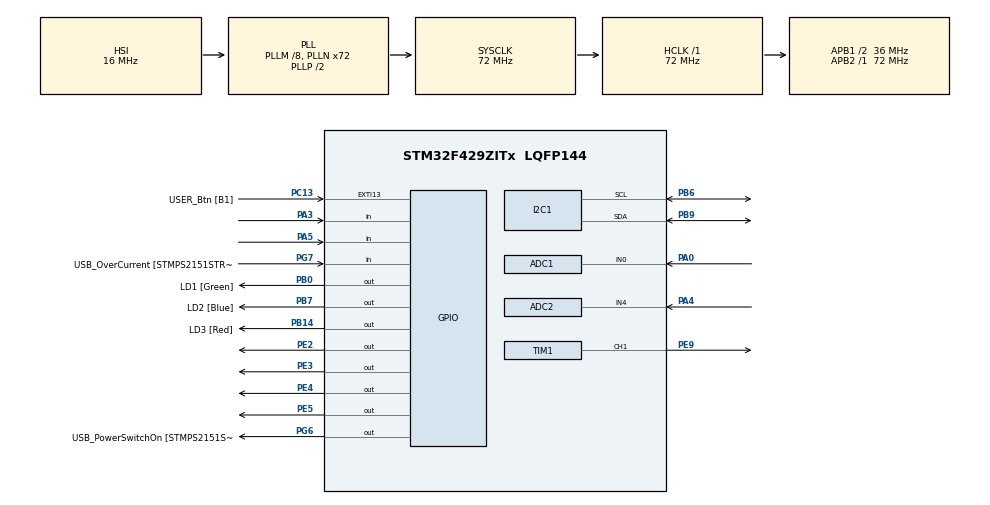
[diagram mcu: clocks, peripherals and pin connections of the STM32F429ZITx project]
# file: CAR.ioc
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ADC1.Channel-1\#ChannelRegularConversion=ADC_CHANNEL_0
ADC1.ClockPrescaler=ADC_CLOCK_SYNC_PCLK_DIV8
ADC1.ContinuousConvMode=ENABLE
ADC1.DMAContinuousRequests=ENABLE
ADC1.NbrOfConversion=1
ADC1.NbrOfConversionFlag=1
ADC1.Rank-1\#ChannelRegularConversion=1
ADC1.SamplingTime-1\#ChannelRegularConversion=ADC_SAMPLETIME_480CYCLES
ADC1.ScanConvMode=ENABLE
ADC1.master=1
ADC2.Channel-1\#ChannelRegularConversion=ADC_CHANNEL_4
ADC2.ClockPrescaler=ADC_CLOCK_SYNC_PCLK_DIV8
ADC2.DMAContinuousRequests=ENABLE
ADC2.NbrOfConversion=1
ADC2.NbrOfConversionFlag=1
ADC2.Rank-1\#ChannelRegularConversion=1
ADC2.SamplingTime-1\#ChannelRegularConversion=ADC_SAMPLETIME_144CYCLES
ADC2.ScanConvMode=ENABLE
Dma.ADC1.0.Direction=DMA_PERIPH_TO_MEMORY
Dma.ADC1.0.FIFOMode=DMA_FIFOMODE_DISABLE
Dma.ADC1.0.Instance=DMA2_Stream0
Dma.ADC1.0.MemDataAlignment=DMA_MDATAALIGN_HALFWORD
Dma.ADC1.0.MemInc=DMA_MINC_ENABLE
Dma.ADC1.0.Mode=DMA_CIRCULAR
Dma.ADC1.0.PeriphDataAlignment=DMA_PDATAALIGN_HALFWORD
Dma.ADC1.0.PeriphInc=DMA_PINC_DISABLE
Dma.ADC1.0.Priority=DMA_PRIORITY_LOW
Dma.ADC2.1.Direction=DMA_PERIPH_TO_MEMORY
Dma.ADC2.1.FIFOMode=DMA_FIFOMODE_DISABLE
Dma.ADC2.1.Instance=DMA2_Stream2
Dma.ADC2.1.MemDataAlignment=DMA_MDATAALIGN_HALFWORD
Dma.ADC2.1.MemInc=DMA_MINC_ENABLE
Dma.ADC2.1.Mode=DMA_CIRCULAR
Dma.ADC2.1.PeriphDataAlignment=DMA_PDATAALIGN_HALFWORD
Dma.ADC2.1.PeriphInc=DMA_PINC_DISABLE
Dma.ADC2.1.Priority=DMA_PRIORITY_LOW
Dma.Request0=ADC1
Dma.Request1=ADC2
Mcu.Family=STM32F4
Mcu.Name=STM32F429ZITx
Mcu.Package=LQFP144
NVIC.DMA2_Stream0_IRQn=true\:0\:0\:false\:false\:true\:false\:true
NVIC.DMA2_Stream2_IRQn=true\:0\:0\:false\:false\:true\:false\:true
NVIC.PriorityGroup=NVIC_PRIORITYGROUP_4
PA0/WKUP.Signal=ADCx_IN0
PA1.GPIO_Label=RMII_REF_CLK [LAN8742A-CZ-TR_REFCLK0]
PA1.Signal=ETH_REF_CLK
PA10.GPIO_Label=USB_ID
PA10.Signal=USB_OTG_FS_ID
PA11.GPIO_Label=USB_DM
PA11.Signal=USB_OTG_FS_DM
PA12.GPIO_Label=USB_DP
PA12.Signal=USB_OTG_FS_DP
PA13.GPIO_Label=TMS
PA13.Signal=SYS_JTMS-SWDIO
PA14.GPIO_Label=TCK
PA14.Signal=SYS_JTCK-SWCLK
PA2.GPIO_Label=RMII_MDIO [LAN8742A-CZ-TR_MDIO]
PA2.Signal=ETH_MDIO
PA3.GPIO_PuPd=GPIO_PULLUP
PA3.Signal=GPIO_Input
PA4.Signal=ADCx_IN4
PA5.GPIO_PuPd=GPIO_PULLUP
PA5.Signal=GPIO_Input
PA7.GPIO_Label=RMII_CRS_DV [LAN8742A-CZ-TR_CRS_DV]
PA7.Signal=ETH_CRS_DV
PA8.GPIO_Label=USB_SOF [TP1]
PA8.Signal=USB_OTG_FS_SOF
PA9.GPIO_Label=USB_VBUS
PA9.Signal=USB_OTG_FS_VBUS
PB0.GPIO_Label=LD1 [Green]
PB0.Signal=GPIO_Output
PB13.GPIO_Label=RMII_TXD1 [LAN8742A-CZ-TR_TXD1]
PB13.Signal=ETH_TXD1
PB14.GPIO_Label=LD3 [Red]
PB14.Signal=GPIO_Output
PB6.Mode=I2C
PB6.Signal=I2C1_SCL
PB7.GPIO_Label=LD2 [Blue]
PB7.Signal=GPIO_Output
PB9.Mode=I2C
PB9.Signal=I2C1_SDA
PC1.GPIO_Label=RMII_MDC [LAN8742A-CZ-TR_MDC]
PC1.Signal=ETH_MDC
PC13.GPIO_Label=USER_Btn [B1]
PC13.Signal=GPXTI13
PC14/OSC32_IN.Signal=RCC_OSC32_IN
PC15/OSC32_OUT.Signal=RCC_OSC32_OUT
PC4.GPIO_Label=RMII_RXD0 [LAN8742A-CZ-TR_RXD0]
PC4.Signal=ETH_RXD0
PC5.GPIO_Label=RMII_RXD1 [LAN8742A-CZ-TR_RXD1]
PC5.Signal=ETH_RXD1
PD8.GPIO_Label=STLK_RX [STM32F103CBT6_PA3]
PD8.Signal=USART3_TX
PD9.GPIO_Label=STLK_TX [STM32F103CBT6_PA2]
PD9.Signal=USART3_RX
PE2.Signal=GPIO_Output
PE3.Signal=GPIO_Output
PE4.Signal=GPIO_Output
PE5.Signal=GPIO_Output
PE9.Signal=S_TIM1_CH1
PG11.GPIO_Label=RMII_TX_EN [LAN8742A-CZ-TR_TXEN]
PG11.Signal=ETH_TX_EN
PG13.GPIO_Label=RMII_TXD0 [LAN8742A-CZ-TR_TXD0]
PG13.Signal=ETH_TXD0
PG6.GPIO_Label=USB_PowerSwitchOn [STMPS2151STR_EN]
PG6.Signal=GPIO_Output
PG7.GPIO_Label=USB_OverCurrent [STMPS2151STR_FAULT]
PG7.Signal=GPIO_Input
PH0/OSC_IN.GPIO_Label=MCO [STM32F103CBT6_PA8]
PH0/OSC_IN.Mode=HSE-External-Oscillator
PH0/OSC_IN.Signal=RCC_OSC_IN
PH1/OSC_OUT.Mode=HSE-External-Oscillator
PH1/OSC_OUT.Signal=RCC_OSC_OUT
ProjectManager.HeapSize=0x200
ProjectManager.StackSize=0x400
ProjectManager.TargetToolchain=MDK-ARM V5
RCC.48MHZClocksFreq_Value=36000000
RCC.AHBFreq_Value=72000000
RCC.APB1CLKDivider=RCC_HCLK_DIV2
RCC.APB1Freq_Value=36000000
RCC.APB1TimFreq_Value=72000000
RCC.APB2Freq_Value=72000000
RCC.APB2TimFreq_Value=72000000
RCC.CortexFreq_Value=72000000
RCC.HCLKFreq_Value=72000000
RCC.HSE_VALUE=8000000
RCC.HSI_VALUE=16000000
RCC.LSE_VALUE=32768
RCC.PLLM=8
RCC.PLLMUL=RCC_PLL_MUL9
RCC.PLLN=72
RCC.PRESCALERUSB=RCC_USBCLKSOURCE_PLL_DIV1_5
RCC.SYSCLKFreq_VALUE=72000000
RCC.SYSCLKSource=RCC_SYSCLKSOURCE_PLLCLK
RCC.SYSCLKSourceVirtual=RCC_SYSCLKSOURCE_PLLCLK
RCC.USBFreq_Value=48000000
RCC.VCOOutputFreq_Value=144000000
SH.ADCx_IN0.0=ADC1_IN0,IN0
SH.ADCx_IN4.0=ADC2_IN4,IN4
SH.S_TIM1_CH1.0=TIM1_CH1,PWM Generation1 CH1
TIM1.Channel-PWM\ Generation1\ CH1=TIM_CHANNEL_1
TIM1.Period=20000
TIM1.Prescaler=72-1
TIM1.Pulse-PWM\ Generation1\ CH1=1000
TIM2.Prescaler=72-1
VP_TIM1_VS_ClockSourceINT.Mode=Internal
VP_TIM2_VS_ClockSourceINT.Mode=Internal
board=NUCLEO-F429ZI

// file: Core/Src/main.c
/* USER CODE BEGIN Header */
/**
  ******************************************************************************
  * @file           : main.c
  * @brief          : Main program body
  ******************************************************************************
  * @attention
  *
  * <h2><center>&copy; Copyright (c) 2022 STMicroelectronics.
  * All rights reserved.</center></h2>
  *
  * This software component is licensed by ST under BSD 3-Clause license,
  * the "License"; You may not use this file except in compliance with the
  * License. You may obtain a copy of the License at:
  *                        opensource.org/licenses/BSD-3-Clause
  *
  ******************************************************************************
  */
/* USER CODE END Header */
#include "main.h"

/* USER CODE BEGIN Includes */
#include "i2c-lcd.h"
/* USER CODE END Includes */

ADC_HandleTypeDef hadc1;
ADC_HandleTypeDef hadc2;
DMA_HandleTypeDef hdma_adc1;
DMA_HandleTypeDef hdma_adc2;

I2C_HandleTypeDef hi2c1;

TIM_HandleTypeDef htim1;
TIM_HandleTypeDef htim2;

/* USER CODE BEGIN PV */
uint16_t adc_data_left[2];
uint16_t adc_data_right[2];
int k[4];
/* USER CODE END PV */

void SystemClock_Config(void);
static void MX_GPIO_Init(void);
static void MX_DMA_Init(void);
static void MX_ADC1_Init(void);
static void MX_ADC2_Init(void);
static void MX_TIM1_Init(void);
static void MX_TIM2_Init(void);
static void MX_I2C1_Init(void);

/* USER CODE BEGIN 0 */
void microDelay (uint16_t delay)
{
  __HAL_TIM_SET_COUNTER(&htim2, 0);
  while (__HAL_TIM_GET_COUNTER(&htim2) < delay);
}

void stepCCV (int steps, uint16_t delay) // CCV - Counter Clockwise
{
  for(int x=0; x<steps; x=x+1)
  {
    HAL_GPIO_WritePin(GPIOE, GPIO_PIN_5, GPIO_PIN_SET);   // IN1
    HAL_GPIO_WritePin(GPIOE, GPIO_PIN_4, GPIO_PIN_RESET); // IN2
    HAL_GPIO_WritePin(GPIOE, GPIO_PIN_3, GPIO_PIN_RESET); // IN3
    HAL_GPIO_WritePin(GPIOE, GPIO_PIN_2, GPIO_PIN_RESET); // IN4
    microDelay(delay);
    HAL_GPIO_WritePin(GPIOE, GPIO_PIN_5, GPIO_PIN_SET);   // IN1
    HAL_GPIO_WritePin(GPIOE, GPIO_PIN_4, GPIO_PIN_SET);   // IN2
    HAL_GPIO_WritePin(GPIOE, GPIO_PIN_3, GPIO_PIN_RESET); // IN3
    HAL_GPIO_WritePin(GPIOE, GPIO_PIN_2, GPIO_PIN_RESET); // IN4
    microDelay(delay);
    HAL_GPIO_WritePin(GPIOE, GPIO_PIN_5, GPIO_PIN_RESET); // IN1
    HAL_GPIO_WritePin(GPIOE, GPIO_PIN_4, GPIO_PIN_SET);   // IN2
    HAL_GPIO_WritePin(GPIOE, GPIO_PIN_3, GPIO_PIN_RESET); // IN3
    HAL_GPIO_WritePin(GPIOE, GPIO_PIN_2, GPIO_PIN_RESET); // IN4
    microDelay(delay);
    HAL_GPIO_WritePin(GPIOE, GPIO_PIN_5, GPIO_PIN_RESET); // IN1
    HAL_GPIO_WritePin(GPIOE, GPIO_PIN_4, GPIO_PIN_SET);   // IN2
    HAL_GPIO_WritePin(GPIOE, GPIO_PIN_3, GPIO_PIN_SET);   // IN3
    HAL_GPIO_WritePin(GPIOE, GPIO_PIN_2, GPIO_PIN_RESET); // IN4
    microDelay(delay);
    HAL_GPIO_WritePin(GPIOE, GPIO_PIN_5, GPIO_PIN_RESET); // IN1
    HAL_GPIO_WritePin(GPIOE, GPIO_PIN_4, GPIO_PIN_RESET); // IN2
    HAL_GPIO_WritePin(GPIOE, GPIO_PIN_3, GPIO_PIN_SET);   // IN3
    HAL_GPIO_WritePin(GPIOE, GPIO_PIN_2, GPIO_PIN_RESET); // IN4
    microDelay(delay);
    HAL_GPIO_WritePin(GPIOE, GPIO_PIN_5, GPIO_PIN_RESET); // IN1
    HAL_GPIO_WritePin(GPIOE, GPIO_PIN_4, GPIO_PIN_RESET); // IN2
    HAL_GPIO_WritePin(GPIOE, GPIO_PIN_3, GPIO_PIN_SET);   // IN3
    HAL_GPIO_WritePin(GPIOE, GPIO_PIN_2, GPIO_PIN_SET);   // IN4
    microDelay(delay);
    HAL_GPIO_WritePin(GPIOE, GPIO_PIN_5, GPIO_PIN_RESET); // IN1
    HAL_GPIO_WritePin(GPIOE, GPIO_PIN_4, GPIO_PIN_RESET); // IN2
    HAL_GPIO_WritePin(GPIOE, GPIO_PIN_3, GPIO_PIN_RESET); // IN3
    HAL_GPIO_WritePin(GPIOE, GPIO_PIN_2, GPIO_PIN_SET);   // IN4
    microDelay(delay);
    HAL_GPIO_WritePin(GPIOE, GPIO_PIN_5, GPIO_PIN_SET);   // IN1
    HAL_GPIO_WritePin(GPIOE, GPIO_PIN_4, GPIO_PIN_RESET); // IN2
    HAL_GPIO_WritePin(GPIOE, GPIO_PIN_3, GPIO_PIN_RESET); // IN3
    HAL_GPIO_WritePin(GPIOE, GPIO_PIN_2, GPIO_PIN_SET);   // IN4
    microDelay(delay);
  }
}

void stepCV (int steps, uint16_t delay) // CV - Clockwise
{
  for(int x=0; x<steps; x=x+1)
  {
    HAL_GPIO_WritePin(GPIOE, GPIO_PIN_5, GPIO_PIN_SET);   // IN1
    HAL_GPIO_WritePin(GPIOE, GPIO_PIN_4, GPIO_PIN_RESET); // IN2
    HAL_GPIO_WritePin(GPIOE, GPIO_PIN_3, GPIO_PIN_RESET); // IN3
    HAL_GPIO_WritePin(GPIOE, GPIO_PIN_2, GPIO_PIN_SET);   // IN4
    microDelay(delay);
    HAL_GPIO_WritePin(GPIOE, GPIO_PIN_5, GPIO_PIN_RESET); // IN1
    HAL_GPIO_WritePin(GPIOE, GPIO_PIN_4, GPIO_PIN_RESET); // IN2
    HAL_GPIO_WritePin(GPIOE, GPIO_PIN_3, GPIO_PIN_RESET); // IN3
    HAL_GPIO_WritePin(GPIOE, GPIO_PIN_2, GPIO_PIN_SET);   // IN4
    microDelay(delay);
    HAL_GPIO_WritePin(GPIOE, GPIO_PIN_5, GPIO_PIN_RESET); // IN1
    HAL_GPIO_WritePin(GPIOE, GPIO_PIN_4, GPIO_PIN_RESET); // IN2
    HAL_GPIO_WritePin(GPIOE, GPIO_PIN_3, GPIO_PIN_SET);   // IN3
    HAL_GPIO_WritePin(GPIOE, GPIO_PIN_2, GPIO_PIN_SET);   // IN4
    microDelay(delay);
    HAL_GPIO_WritePin(GPIOE, GPIO_PIN_5, GPIO_PIN_RESET); // IN1
    HAL_GPIO_WritePin(GPIOE, GPIO_PIN_4, GPIO_PIN_RESET); // IN2
    HAL_GPIO_WritePin(GPIOE, GPIO_PIN_3, GPIO_PIN_SET);   // IN3
    HAL_GPIO_WritePin(GPIOE, GPIO_PIN_2, GPIO_PIN_RESET); // IN4
    microDelay(delay);
    HAL_GPIO_WritePin(GPIOE, GPIO_PIN_5, GPIO_PIN_RESET); // IN1
    HAL_GPIO_WritePin(GPIOE, GPIO_PIN_4, GPIO_PIN_SET);   // IN2
    HAL_GPIO_WritePin(GPIOE, GPIO_PIN_3, GPIO_PIN_SET);   // IN3
    HAL_GPIO_WritePin(GPIOE, GPIO_PIN_2, GPIO_PIN_RESET); // IN4
    microDelay(delay);
    HAL_GPIO_WritePin(GPIOE, GPIO_PIN_5, GPIO_PIN_RESET); // IN1
    HAL_GPIO_WritePin(GPIOE, GPIO_PIN_4, GPIO_PIN_SET);   // IN2
    HAL_GPIO_WritePin(GPIOE, GPIO_PIN_3, GPIO_PIN_RESET); // IN3
    HAL_GPIO_WritePin(GPIOE, GPIO_PIN_2, GPIO_PIN_RESET); // IN4
    microDelay(delay);
    HAL_GPIO_WritePin(GPIOE, GPIO_PIN_5, GPIO_PIN_SET);   // IN1
    HAL_GPIO_WritePin(GPIOE, GPIO_PIN_4, GPIO_PIN_SET);   // IN2
    HAL_GPIO_WritePin(GPIOE, GPIO_PIN_3, GPIO_PIN_RESET); // IN3
    HAL_GPIO_WritePin(GPIOE, GPIO_PIN_2, GPIO_PIN_RESET); // IN4
    microDelay(delay);
    HAL_GPIO_WritePin(GPIOE, GPIO_PIN_5, GPIO_PIN_SET);   // IN1
    HAL_GPIO_WritePin(GPIOE, GPIO_PIN_4, GPIO_PIN_RESET); // IN2
    HAL_GPIO_WritePin(GPIOE, GPIO_PIN_3, GPIO_PIN_RESET); // IN3
    HAL_GPIO_WritePin(GPIOE, GPIO_PIN_2, GPIO_PIN_RESET); // IN4
    microDelay(delay);
  }
}
int* calibrovout(){
	uint16_t x[4];

	lcd_put_cur(0,0);
	lcd_send_string("Put right stick at top");
	if (HAL_GPIO_ReadPin(GPIOB, GPIO_PIN_13)== GPIO_PIN_SET){
		x[0]=adc_data_right[0];
		lcd_clear();
lcd_send_string("Good");
		}
	lcd_send_string("Put right stick down");
	if (HAL_GPIO_ReadPin(GPIOB, GPIO_PIN_13)== GPIO_PIN_SET){
	x[1]=adc_data_right[0];
	lcd_clear();
	lcd_send_string("Good");
	}
lcd_send_string("Put left stick at top");
if (HAL_GPIO_ReadPin(GPIOB, GPIO_PIN_13)== GPIO_PIN_SET){
x[2]=adc_data_left[0];
lcd_clear();
lcd_send_string("Good");
	}
	lcd_send_string("Put left stick down");
	if (HAL_GPIO_ReadPin(GPIOB, GPIO_PIN_13)== GPIO_PIN_SET){
	x[3]=adc_data_left[0];
	lcd_clear();
	lcd_send_string("Good");
	}
k[0]=-(x[0]-x[1])/2;
k[1]=100/k[0];
k[2]=-(x[2]-x[3])/2;
k[3]=100/k[1];
return k;
}
/* USER CODE END 0 */

int main(void)
{
	lcd_put_cur(0,0);
	lcd_send_string("fffs");
	HAL_Delay(2000);

  /* MCU Configuration--------------------------------------------------------*/

  /* Reset of all peripherals, Initializes the Flash interface and the Systick. */
  HAL_Init();

  /* Configure the system clock */
  SystemClock_Config();

  /* Initialize all configured peripherals */
  MX_GPIO_Init();
  MX_DMA_Init();
  MX_ADC1_Init();
  MX_ADC2_Init();
  MX_TIM1_Init();
  MX_TIM2_Init();
  MX_I2C1_Init();
  /* USER CODE BEGIN 2 */
  HAL_TIM_Base_Start(&htim2);
  HAL_ADC_Start_DMA(&hadc1, (uint32_t*)adc_data_left, 2);
  HAL_ADC_Start_DMA(&hadc2, (uint32_t*)adc_data_right, 2);
  HAL_TIM_PWM_Start(&htim1, TIM_CHANNEL_1);
	int* pobeda= calibrovout();
	uint16_t b=(adc_data_right[0]+pobeda[0])*pobeda[1];
  /* USER CODE END 2 */

  /* Infinite loop */
  /* USER CODE BEGIN WHILE */
  while (1)
  {
	  if(adc_data_left[0]<= 1800)
	  {
		  stepCCV(3, adc_data_left[0]*0.8 + 1000);
	  }
	  else
	  {
		  if(adc_data_left[0]>= 2500)
		  {
			  stepCV(3, 4096 - adc_data_left[0]*0.8 + 1000);
		  }
		  else
		  {
			  HAL_GPIO_WritePin(GPIOE, GPIO_PIN_5, GPIO_PIN_RESET); // IN1
			      HAL_GPIO_WritePin(GPIOE, GPIO_PIN_4, GPIO_PIN_RESET); // IN2
			      HAL_GPIO_WritePin(GPIOE, GPIO_PIN_3, GPIO_PIN_RESET); // IN3
			      HAL_GPIO_WritePin(GPIOE, GPIO_PIN_2, GPIO_PIN_RESET);   // IN4
		  }
	  }

	  __HAL_TIM_SET_COMPARE(&htim1, TIM_CHANNEL_1, 1000 + adc_data_right[0]/6);

    /* USER CODE END WHILE */

  }
}

void SystemClock_Config(void)
{
  RCC_OscInitTypeDef RCC_OscInitStruct = {0};
  RCC_ClkInitTypeDef RCC_ClkInitStruct = {0};

  /** Configure the main internal regulator output voltage
  */
  __HAL_RCC_PWR_CLK_ENABLE();
  __HAL_PWR_VOLTAGESCALING_CONFIG(PWR_REGULATOR_VOLTAGE_SCALE3);
  /** Initializes the RCC Oscillators according to the specified parameters
  * in the RCC_OscInitTypeDef structure.
  */
  RCC_OscInitStruct.OscillatorType = RCC_OSCILLATORTYPE_HSI;
  RCC_OscInitStruct.HSIState = RCC_HSI_ON;
  RCC_OscInitStruct.HSICalibrationValue = RCC_HSICALIBRATION_DEFAULT;
  RCC_OscInitStruct.PLL.PLLState = RCC_PLL_ON;
  RCC_OscInitStruct.PLL.PLLSource = RCC_PLLSOURCE_HSI;
  RCC_OscInitStruct.PLL.PLLM = 8;
  RCC_OscInitStruct.PLL.PLLN = 72;
  RCC_OscInitStruct.PLL.PLLP = RCC_PLLP_DIV2;
  RCC_OscInitStruct.PLL.PLLQ = 4;
  if (HAL_RCC_OscConfig(&RCC_OscInitStruct) != HAL_OK)
  {
    Error_Handler();
  }
  /** Initializes the CPU, AHB and APB buses clocks
  */
  RCC_ClkInitStruct.ClockType = RCC_CLOCKTYPE_HCLK|RCC_CLOCKTYPE_SYSCLK
                              |RCC_CLOCKTYPE_PCLK1|RCC_CLOCKTYPE_PCLK2;
  RCC_ClkInitStruct.SYSCLKSource = RCC_SYSCLKSOURCE_PLLCLK;
  RCC_ClkInitStruct.AHBCLKDivider = RCC_SYSCLK_DIV1;
  RCC_ClkInitStruct.APB1CLKDivider = RCC_HCLK_DIV2;
  RCC_ClkInitStruct.APB2CLKDivider = RCC_HCLK_DIV1;

  if (HAL_RCC_ClockConfig(&RCC_ClkInitStruct, FLASH_LATENCY_2) != HAL_OK)
  {
    Error_Handler();
  }
}

static void MX_ADC1_Init(void)
{

  ADC_ChannelConfTypeDef sConfig = {0};

  /** Configure the global features of the ADC (Clock, Resolution, Data Alignment and number of conversion)
  */
  hadc1.Instance = ADC1;
  hadc1.Init.ClockPrescaler = ADC_CLOCK_SYNC_PCLK_DIV8;
  hadc1.Init.Resolution = ADC_RESOLUTION_12B;
  hadc1.Init.ScanConvMode = ENABLE;
  hadc1.Init.ContinuousConvMode = ENABLE;
  hadc1.Init.DiscontinuousConvMode = DISABLE;
  hadc1.Init.ExternalTrigConvEdge = ADC_EXTERNALTRIGCONVEDGE_NONE;
  hadc1.Init.ExternalTrigConv = ADC_SOFTWARE_START;
  hadc1.Init.DataAlign = ADC_DATAALIGN_RIGHT;
  hadc1.Init.NbrOfConversion = 1;
  hadc1.Init.DMAContinuousRequests = ENABLE;
  hadc1.Init.EOCSelection = ADC_EOC_SINGLE_CONV;
  if (HAL_ADC_Init(&hadc1) != HAL_OK)
  {
    Error_Handler();
  }
  /** Configure for the selected ADC regular channel its corresponding rank in the sequencer and its sample time.
  */
  sConfig.Channel = ADC_CHANNEL_0;
  sConfig.Rank = 1;
  sConfig.SamplingTime = ADC_SAMPLETIME_480CYCLES;
  if (HAL_ADC_ConfigChannel(&hadc1, &sConfig) != HAL_OK)
  {
    Error_Handler();
  }

}

static void MX_ADC2_Init(void)
{

  ADC_ChannelConfTypeDef sConfig = {0};

  /** Configure the global features of the ADC (Clock, Resolution, Data Alignment and number of conversion)
  */
  hadc2.Instance = ADC2;
  hadc2.Init.ClockPrescaler = ADC_CLOCK_SYNC_PCLK_DIV8;
  hadc2.Init.Resolution = ADC_RESOLUTION_12B;
  hadc2.Init.ScanConvMode = ENABLE;
  hadc2.Init.ContinuousConvMode = ENABLE;
  hadc2.Init.DiscontinuousConvMode = DISABLE;
  hadc2.Init.ExternalTrigConvEdge = ADC_EXTERNALTRIGCONVEDGE_NONE;
  hadc2.Init.ExternalTrigConv = ADC_SOFTWARE_START;
  hadc2.Init.DataAlign = ADC_DATAALIGN_RIGHT;
  hadc2.Init.NbrOfConversion = 1;
  hadc2.Init.DMAContinuousRequests = ENABLE;
  hadc2.Init.EOCSelection = ADC_EOC_SINGLE_CONV;
  if (HAL_ADC_Init(&hadc2) != HAL_OK)
  {
    Error_Handler();
  }
  /** Configure for the selected ADC regular channel its corresponding rank in the sequencer and its sample time.
  */
  sConfig.Channel = ADC_CHANNEL_4;
  sConfig.Rank = 1;
  sConfig.SamplingTime = ADC_SAMPLETIME_144CYCLES;
  if (HAL_ADC_ConfigChannel(&hadc2, &sConfig) != HAL_OK)
  {
    Error_Handler();
  }

}

static void MX_I2C1_Init(void)
{

  hi2c1.Instance = I2C1;
  hi2c1.Init.ClockSpeed = 100000;
  hi2c1.Init.DutyCycle = I2C_DUTYCYCLE_2;
  hi2c1.Init.OwnAddress1 = 0;
  hi2c1.Init.AddressingMode = I2C_ADDRESSINGMODE_7BIT;
  hi2c1.Init.DualAddressMode = I2C_DUALADDRESS_DISABLE;
  hi2c1.Init.OwnAddress2 = 0;
  hi2c1.Init.GeneralCallMode = I2C_GENERALCALL_DISABLE;
  hi2c1.Init.NoStretchMode = I2C_NOSTRETCH_DISABLE;
  if (HAL_I2C_Init(&hi2c1) != HAL_OK)
  {
    Error_Handler();
  }
  /** Configure Analogue filter
  */
  if (HAL_I2CEx_ConfigAnalogFilter(&hi2c1, I2C_ANALOGFILTER_ENABLE) != HAL_OK)
  {
    Error_Handler();
  }
  /** Configure Digital filter
  */
  if (HAL_I2CEx_ConfigDigitalFilter(&hi2c1, 0) != HAL_OK)
  {
    Error_Handler();
  }

}

static void MX_TIM1_Init(void)
{

  TIM_ClockConfigTypeDef sClockSourceConfig = {0};
  TIM_MasterConfigTypeDef sMasterConfig = {0};
  TIM_OC_InitTypeDef sConfigOC = {0};
  TIM_BreakDeadTimeConfigTypeDef sBreakDeadTimeConfig = {0};

  htim1.Instance = TIM1;
  htim1.Init.Prescaler = 72-1;
  htim1.Init.CounterMode = TIM_COUNTERMODE_UP;
  htim1.Init.Period = 20000;
  htim1.Init.ClockDivision = TIM_CLOCKDIVISION_DIV1;
  htim1.Init.RepetitionCounter = 0;
  htim1.Init.AutoReloadPreload = TIM_AUTORELOAD_PRELOAD_DISABLE;
  if (HAL_TIM_Base_Init(&htim1) != HAL_OK)
  {
    Error_Handler();
  }
  sClockSourceConfig.ClockSource = TIM_CLOCKSOURCE_INTERNAL;
  if (HAL_TIM_ConfigClockSource(&htim1, &sClockSourceConfig) != HAL_OK)
  {
    Error_Handler();
  }
  if (HAL_TIM_PWM_Init(&htim1) != HAL_OK)
  {
    Error_Handler();
  }
  sMasterConfig.MasterOutputTrigger = TIM_TRGO_RESET;
  sMasterConfig.MasterSlaveMode = TIM_MASTERSLAVEMODE_DISABLE;
  if (HAL_TIMEx_MasterConfigSynchronization(&htim1, &sMasterConfig) != HAL_OK)
  {
    Error_Handler();
  }
  sConfigOC.OCMode = TIM_OCMODE_PWM1;
  sConfigOC.Pulse = 1000;
  sConfigOC.OCPolarity = TIM_OCPOLARITY_HIGH;
  sConfigOC.OCNPolarity = TIM_OCNPOLARITY_HIGH;
  sConfigOC.OCFastMode = TIM_OCFAST_DISABLE;
  sConfigOC.OCIdleState = TIM_OCIDLESTATE_RESET;
  sConfigOC.OCNIdleState = TIM_OCNIDLESTATE_RESET;
  if (HAL_TIM_PWM_ConfigChannel(&htim1, &sConfigOC, TIM_CHANNEL_1) != HAL_OK)
  {
    Error_Handler();
  }
  sBreakDeadTimeConfig.OffStateRunMode = TIM_OSSR_DISABLE;
  sBreakDeadTimeConfig.OffStateIDLEMode = TIM_OSSI_DISABLE;
  sBreakDeadTimeConfig.LockLevel = TIM_LOCKLEVEL_OFF;
  sBreakDeadTimeConfig.DeadTime = 0;
  sBreakDeadTimeConfig.BreakState = TIM_BREAK_DISABLE;
  sBreakDeadTimeConfig.BreakPolarity = TIM_BREAKPOLARITY_HIGH;
  sBreakDeadTimeConfig.AutomaticOutput = TIM_AUTOMATICOUTPUT_DISABLE;
  if (HAL_TIMEx_ConfigBreakDeadTime(&htim1, &sBreakDeadTimeConfig) != HAL_OK)
  {
    Error_Handler();
  }
  HAL_TIM_MspPostInit(&htim1);

}

static void MX_TIM2_Init(void)
{

  TIM_ClockConfigTypeDef sClockSourceConfig = {0};
  TIM_MasterConfigTypeDef sMasterConfig = {0};

  htim2.Instance = TIM2;
  htim2.Init.Prescaler = 72-1;
  htim2.Init.CounterMode = TIM_COUNTERMODE_UP;
  htim2.Init.Period = 4294967295;
  htim2.Init.ClockDivision = TIM_CLOCKDIVISION_DIV1;
  htim2.Init.AutoReloadPreload = TIM_AUTORELOAD_PRELOAD_DISABLE;
  if (HAL_TIM_Base_Init(&htim2) != HAL_OK)
  {
    Error_Handler();
  }
  sClockSourceConfig.ClockSource = TIM_CLOCKSOURCE_INTERNAL;
  if (HAL_TIM_ConfigClockSource(&htim2, &sClockSourceConfig) != HAL_OK)
  {
    Error_Handler();
  }
  sMasterConfig.MasterOutputTrigger = TIM_TRGO_RESET;
  sMasterConfig.MasterSlaveMode = TIM_MASTERSLAVEMODE_DISABLE;
  if (HAL_TIMEx_MasterConfigSynchronization(&htim2, &sMasterConfig) != HAL_OK)
  {
    Error_Handler();
  }

}

static void MX_DMA_Init(void)
{

  /* DMA controller clock enable */
  __HAL_RCC_DMA2_CLK_ENABLE();

  /* DMA interrupt init */
  /* DMA2_Stream0_IRQn interrupt configuration */
  HAL_NVIC_SetPriority(DMA2_Stream0_IRQn, 0, 0);
  HAL_NVIC_EnableIRQ(DMA2_Stream0_IRQn);
  /* DMA2_Stream2_IRQn interrupt configuration */
  HAL_NVIC_SetPriority(DMA2_Stream2_IRQn, 0, 0);
  HAL_NVIC_EnableIRQ(DMA2_Stream2_IRQn);

}

static void MX_GPIO_Init(void)
{
  GPIO_InitTypeDef GPIO_InitStruct = {0};

  /* GPIO Ports Clock Enable */
  __HAL_RCC_GPIOE_CLK_ENABLE();
  __HAL_RCC_GPIOC_CLK_ENABLE();
  __HAL_RCC_GPIOH_CLK_ENABLE();
  __HAL_RCC_GPIOA_CLK_ENABLE();
  __HAL_RCC_GPIOB_CLK_ENABLE();
  __HAL_RCC_GPIOD_CLK_ENABLE();
  __HAL_RCC_GPIOG_CLK_ENABLE();

  /*Configure GPIO pin Output Level */
  HAL_GPIO_WritePin(GPIOE, GPIO_PIN_2|GPIO_PIN_3|GPIO_PIN_4|GPIO_PIN_5, GPIO_PIN_RESET);

  /*Configure GPIO pin Output Level */
  HAL_GPIO_WritePin(GPIOB, LD1_Pin|LD3_Pin|LD2_Pin, GPIO_PIN_RESET);

  /*Configure GPIO pin Output Level */
  HAL_GPIO_WritePin(USB_PowerSwitchOn_GPIO_Port, USB_PowerSwitchOn_Pin, GPIO_PIN_RESET);

  /*Configure GPIO pins : PE2 PE3 PE4 PE5 */
  GPIO_InitStruct.Pin = GPIO_PIN_2|GPIO_PIN_3|GPIO_PIN_4|GPIO_PIN_5;
  GPIO_InitStruct.Mode = GPIO_MODE_OUTPUT_PP;
  GPIO_InitStruct.Pull = GPIO_NOPULL;
  GPIO_InitStruct.Speed = GPIO_SPEED_FREQ_LOW;
  HAL_GPIO_Init(GPIOE, &GPIO_InitStruct);

  /*Configure GPIO pin : USER_Btn_Pin */
  GPIO_InitStruct.Pin = USER_Btn_Pin;
  GPIO_InitStruct.Mode = GPIO_MODE_IT_RISING;
  GPIO_InitStruct.Pull = GPIO_NOPULL;
  HAL_GPIO_Init(USER_Btn_GPIO_Port, &GPIO_InitStruct);

  /*Configure GPIO pins : RMII_MDC_Pin RMII_RXD0_Pin RMII_RXD1_Pin */
  GPIO_InitStruct.Pin = RMII_MDC_Pin|RMII_RXD0_Pin|RMII_RXD1_Pin;
  GPIO_InitStruct.Mode = GPIO_MODE_AF_PP;
  GPIO_InitStruct.Pull = GPIO_NOPULL;
  GPIO_InitStruct.Speed = GPIO_SPEED_FREQ_VERY_HIGH;
  GPIO_InitStruct.Alternate = GPIO_AF11_ETH;
  HAL_GPIO_Init(GPIOC, &GPIO_InitStruct);

  /*Configure GPIO pins : RMII_REF_CLK_Pin RMII_MDIO_Pin RMII_CRS_DV_Pin */
  GPIO_InitStruct.Pin = RMII_REF_CLK_Pin|RMII_MDIO_Pin|RMII_CRS_DV_Pin;
  GPIO_InitStruct.Mode = GPIO_MODE_AF_PP;
  GPIO_InitStruct.Pull = GPIO_NOPULL;
  GPIO_InitStruct.Speed = GPIO_SPEED_FREQ_VERY_HIGH;
  GPIO_InitStruct.Alternate = GPIO_AF11_ETH;
  HAL_GPIO_Init(GPIOA, &GPIO_InitStruct);

  /*Configure GPIO pins : PA3 PA5 */
  GPIO_InitStruct.Pin = GPIO_PIN_3|GPIO_PIN_5;
  GPIO_InitStruct.Mode = GPIO_MODE_INPUT;
  GPIO_InitStruct.Pull = GPIO_PULLUP;
  HAL_GPIO_Init(GPIOA, &GPIO_InitStruct);

  /*Configure GPIO pins : LD1_Pin LD3_Pin LD2_Pin */
  GPIO_InitStruct.Pin = LD1_Pin|LD3_Pin|LD2_Pin;
  GPIO_InitStruct.Mode = GPIO_MODE_OUTPUT_PP;
  GPIO_InitStruct.Pull = GPIO_NOPULL;
  GPIO_InitStruct.Speed = GPIO_SPEED_FREQ_LOW;
  HAL_GPIO_Init(GPIOB, &GPIO_InitStruct);

  /*Configure GPIO pin : RMII_TXD1_Pin */
  GPIO_InitStruct.Pin = RMII_TXD1_Pin;
  GPIO_InitStruct.Mode = GPIO_MODE_AF_PP;
  GPIO_InitStruct.Pull = GPIO_NOPULL;
  GPIO_InitStruct.Speed = GPIO_SPEED_FREQ_VERY_HIGH;
  GPIO_InitStruct.Alternate = GPIO_AF11_ETH;
  HAL_GPIO_Init(RMII_TXD1_GPIO_Port, &GPIO_InitStruct);

  /*Configure GPIO pins : STLK_RX_Pin STLK_TX_Pin */
  GPIO_InitStruct.Pin = STLK_RX_Pin|STLK_TX_Pin;
  GPIO_InitStruct.Mode = GPIO_MODE_AF_PP;
  GPIO_InitStruct.Pull = GPIO_NOPULL;
  GPIO_InitStruct.Speed = GPIO_SPEED_FREQ_VERY_HIGH;
  GPIO_InitStruct.Alternate = GPIO_AF7_USART3;
  HAL_GPIO_Init(GPIOD, &GPIO_InitStruct);

  /*Configure GPIO pin : USB_PowerSwitchOn_Pin */
  GPIO_InitStruct.Pin = USB_PowerSwitchOn_Pin;
  GPIO_InitStruct.Mode = GPIO_MODE_OUTPUT_PP;
  GPIO_InitStruct.Pull = GPIO_NOPULL;
  GPIO_InitStruct.Speed = GPIO_SPEED_FREQ_LOW;
  HAL_GPIO_Init(USB_PowerSwitchOn_GPIO_Port, &GPIO_InitStruct);

  /*Configure GPIO pin : USB_OverCurrent_Pin */
  GPIO_InitStruct.Pin = USB_OverCurrent_Pin;
  GPIO_InitStruct.Mode = GPIO_MODE_INPUT;
  GPIO_InitStruct.Pull = GPIO_NOPULL;
  HAL_GPIO_Init(USB_OverCurrent_GPIO_Port, &GPIO_InitStruct);

  /*Configure GPIO pins : USB_SOF_Pin USB_ID_Pin USB_DM_Pin USB_DP_Pin */
  GPIO_InitStruct.Pin = USB_SOF_Pin|USB_ID_Pin|USB_DM_Pin|USB_DP_Pin;
  GPIO_InitStruct.Mode = GPIO_MODE_AF_PP;
  GPIO_InitStruct.Pull = GPIO_NOPULL;
  GPIO_InitStruct.Speed = GPIO_SPEED_FREQ_VERY_HIGH;
  GPIO_InitStruct.Alternate = GPIO_AF10_OTG_FS;
  HAL_GPIO_Init(GPIOA, &GPIO_InitStruct);

  /*Configure GPIO pin : USB_VBUS_Pin */
  GPIO_InitStruct.Pin = USB_VBUS_Pin;
  GPIO_InitStruct.Mode = GPIO_MODE_INPUT;
  GPIO_InitStruct.Pull = GPIO_NOPULL;
  HAL_GPIO_Init(USB_VBUS_GPIO_Port, &GPIO_InitStruct);

  /*Configure GPIO pins : RMII_TX_EN_Pin RMII_TXD0_Pin */
  GPIO_InitStruct.Pin = RMII_TX_EN_Pin|RMII_TXD0_Pin;
  GPIO_InitStruct.Mode = GPIO_MODE_AF_PP;
  GPIO_InitStruct.Pull = GPIO_NOPULL;
  GPIO_InitStruct.Speed = GPIO_SPEED_FREQ_VERY_HIGH;
  GPIO_InitStruct.Alternate = GPIO_AF11_ETH;
  HAL_GPIO_Init(GPIOG, &GPIO_InitStruct);

}

void Error_Handler(void)
{
  __disable_irq();
  while (1)
  {
  }
}

/************************ (C) COPYRIGHT STMicroelectronics *****END OF FILE****/
